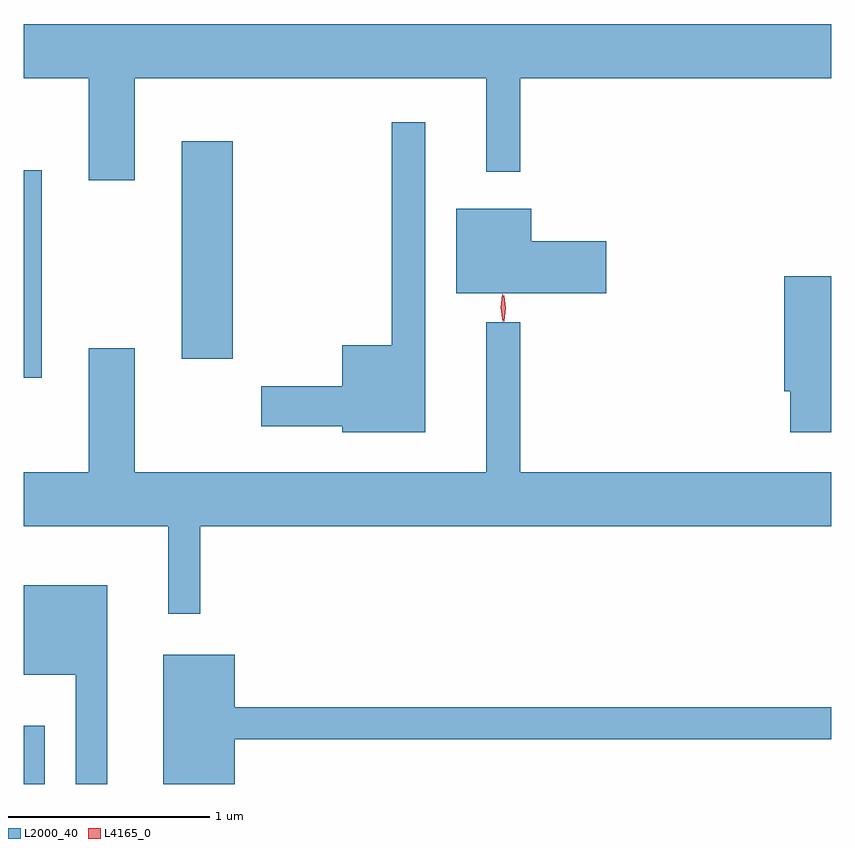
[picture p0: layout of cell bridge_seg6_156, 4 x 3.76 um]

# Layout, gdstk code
import gdstk
lib = gdstk.Library(unit=1e-6, precision=1e-09)
def R(c, l, rs):  # rectangles x0, y0, x1, y1
    for r in rs: c.add(gdstk.rectangle(r[:2], r[2:], *l))
def P(c, l, *ps):  # polygons
    for p in ps: c.add(gdstk.Polygon(p, *l))
L2000_40 = (2000, 40)
L4165_0 = (4165, 0)

bridge_seg6_156 = lib.new_cell('bridge_seg6_156')
R(bridge_seg6_156, L2000_40, [(1064.719,1566.52,1064.824,1566.809), (1064.719,1568.531,1064.809,1569.559), (1065.501,1568.626,1065.754,1569.704)])
P(bridge_seg6_156, L2000_40, [(1065.269,1570.016),(1067.011,1570.016),(1067.011,1569.553),(1067.179,1569.553),(1067.179,1570.016),(1068.719,1570.016),(1068.719,1570.284),(1064.719,1570.284),(1064.719,1570.016),(1065.041,1570.016),(1065.041,1569.511),(1065.269,1569.511)],
  [(1066.709,1569.798),(1066.541,1569.798),(1066.541,1568.694),(1066.296,1568.694),(1066.296,1568.489),(1065.896,1568.489),(1065.896,1568.291),(1066.296,1568.291),(1066.296,1568.261),(1066.709,1568.261)],
  [(1067.604,1569.209),(1067.234,1569.209),(1067.234,1569.369),(1066.861,1569.369),(1066.861,1568.951),(1067.604,1568.951)],
  [(1068.719,1569.034),(1068.486,1569.034),(1068.486,1568.466),(1068.516,1568.466),(1068.516,1568.261),(1068.719,1568.261)],
  [(1065.594,1567.796),(1068.719,1567.796),(1068.719,1568.064),(1067.179,1568.064),(1067.179,1568.808),(1067.011,1568.808),(1067.011,1568.064),(1065.269,1568.064),(1065.269,1568.679),(1065.041,1568.679),(1065.041,1568.064),(1064.719,1568.064),(1064.719,1567.796),(1065.436,1567.796),(1065.436,1567.363),(1065.594,1567.363)],
  [(1065.134,1567.504),(1064.719,1567.504),(1064.719,1567.061),(1064.976,1567.061),(1064.976,1566.52),(1065.134,1566.52)],
  [(1065.764,1566.741),(1068.719,1566.741),(1068.719,1566.899),(1065.764,1566.899),(1065.764,1567.159),(1065.411,1567.159),(1065.411,1566.52),(1065.764,1566.52)])
P(bridge_seg6_156, L4165_0, [(1067.097,1568.813),(1067.097,1568.813),(1067.087,1568.876),(1067.097,1568.939),(1067.097,1568.94),(1067.098,1568.939),(1067.107,1568.876),(1067.098,1568.813)],
  [(1067.091,1568.81),(1067.091,1568.81),(1067.081,1568.878),(1067.09,1568.945),(1067.09,1568.946),(1067.091,1568.945),(1067.101,1568.878),(1067.092,1568.81)])

lib.write_gds('bridge_seg6_156.gds')
